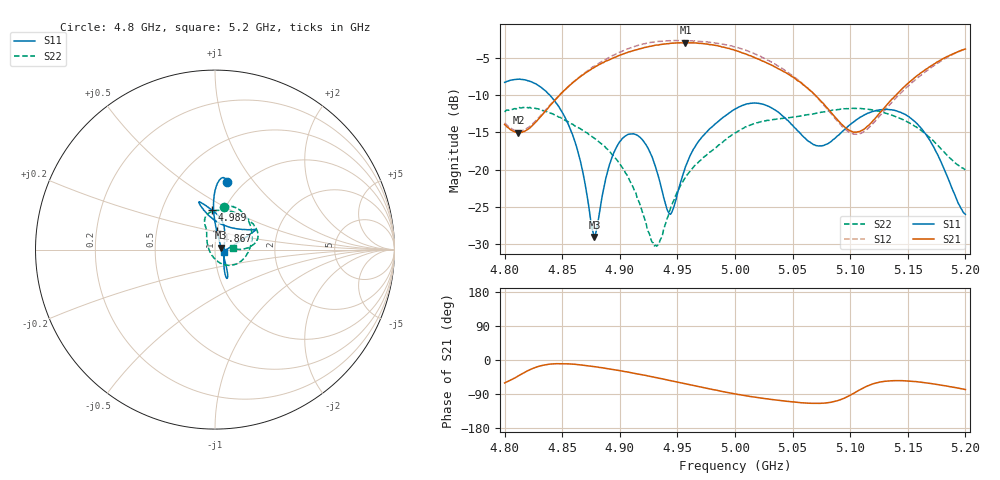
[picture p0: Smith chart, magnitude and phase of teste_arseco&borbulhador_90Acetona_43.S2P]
! Network Analyzer HP8722D
! Hewlett-Packard
! Data name: Linha & Wilkinson
! Saver's name: Rodrigo Anjos
! Comments: Teste da utilização de aquisição
! continua pelo VNA HP8722D
! Time and date: 17/4/2025 11:24
!  Frequency  S11  S21  S12  S22
# HZ  S  MA R 50
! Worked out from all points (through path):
!   401 points, 4.8 GHz to 5.2 GHz, reference 50 ohm
!   highest |S21| = -2.99 dB at 4.957 GHz (marker M1); lowest = -15.1 dB at 4.812 GHz (marker M2)
!   lowest |S11| = -29.0 dB at 4.878 GHz (marker M3), VSWR 1.07, Z = 53.5 + j1.06 ohm
!   |S11| at or under -10 dB: 4.839 GHz to end of sweep
!   |S22| runs from -30.2 to -11.6 dB; largest |S21 - S12| = 1.4
!   S11 on the Smith chart (normalised r, x): 4.8 GHz: 0.84, +0.75; 4.867 GHz: 1.00, +0.21; 4.989 GHz: 0.88, +0.41; 5.2 GHz: 1.10, -0.03
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4.8e9  0.3845 79.6  0.2008 -60.5  0.2061 74.6  0.2438 78.0
4.812e9  0.4042 83.3  0.1767 -41.9  0.1821 91.5  0.258 67.9
4.845e9  0.278 91.5  0.3002 -9.8  0.302 123.1  0.2304 28.0
4.858e9  0.1795 91.1  0.3755 -10.8  0.377 124.1  0.2029 9.0
4.867e9  0.1036 84.7  0.4272 -13.3  0.4301 123.2  0.1855 -4.6
4.878e9  0.03554 16.1  0.4854 -17.5  0.4936 120.9  0.1626 -21.4
4.892e9  0.1136 -56.5  0.55 -24.0  0.5709 116.4  0.1303 -41.5
4.904e9  0.1665 -64.9  0.5995 -30.4  0.6302 111.3  0.09864 -58.2
4.92e9  0.1575 -68.0  0.6529 -39.5  0.696 102.7  0.05097 -91.9
4.928e9  0.1221 -64.7  0.6736 -44.3  0.7137 97.8  0.03276 -130.9
4.934e9  0.08717 -55.9  0.6853 -48.1  0.7245 93.9  0.03188 -175.0
4.944e9  0.05031 0.5  0.7027 -54.5  0.7298 87.5  0.05515 141.3
4.957e9  0.1047 58.7  0.709 -62.6  0.7306 79.3  0.08904 121.2
4.969e9  0.1573 73.8  0.7014 -70.4  0.7235 71.6  0.114 114.4
4.989e9  0.2217 94.4  0.6625 -83.0  0.6927 58.4  0.1523 111.9
5e9  0.2547 102.9  0.6295 -89.5  0.6656 51.4  0.1764 109.5
5.029e9  0.2662 108.6  0.5137 -103.0  0.5398 35.6  0.214 93.0
5.067e9  0.1496 80.5  0.3312 -114.3  0.3283 26.2  0.2354 59.3
5.103e9  0.2091 32.0  0.1785 -88.0  0.1732 56.0  0.2579 27.1
5.134e9  0.2527 25.8  0.2841 -54.9  0.271 91.0  0.2355 11.1
5.164e9  0.1796 21.4  0.4609 -59.6  0.4449 88.2  0.1775 2.6
5.2e9  0.05028 -16.7  0.6428 -77.9  0.6455 71.2  0.09988 4.5
